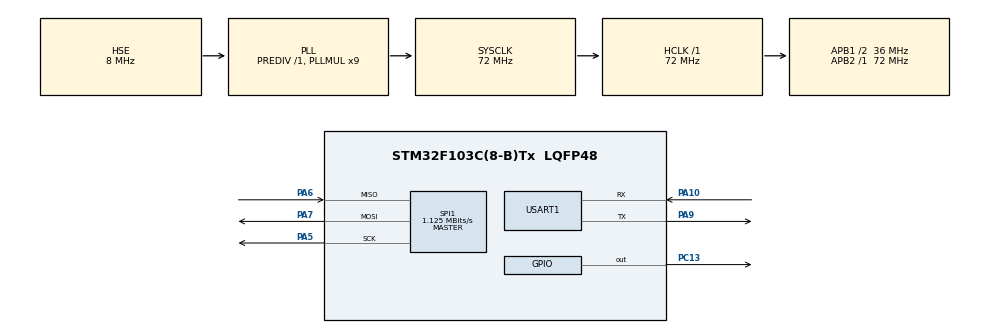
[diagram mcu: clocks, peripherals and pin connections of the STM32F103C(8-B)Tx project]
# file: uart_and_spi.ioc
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Dma.Request0=USART1_RX
Dma.USART1_RX.0.Direction=DMA_PERIPH_TO_MEMORY
Dma.USART1_RX.0.Instance=DMA1_Channel5
Dma.USART1_RX.0.MemDataAlignment=DMA_MDATAALIGN_BYTE
Dma.USART1_RX.0.MemInc=DMA_MINC_ENABLE
Dma.USART1_RX.0.Mode=DMA_CIRCULAR
Dma.USART1_RX.0.PeriphDataAlignment=DMA_PDATAALIGN_BYTE
Dma.USART1_RX.0.PeriphInc=DMA_PINC_DISABLE
Dma.USART1_RX.0.Priority=DMA_PRIORITY_LOW
Mcu.Family=STM32F1
Mcu.Name=STM32F103C(8-B)Tx
Mcu.Package=LQFP48
NVIC.DMA1_Channel5_IRQn=true\:0\:0\:false\:false\:true
NVIC.PriorityGroup=NVIC_PRIORITYGROUP_4
NVIC.SPI1_IRQn=true\:0\:0\:false\:false\:true
NVIC.USART1_IRQn=true\:0\:0\:false\:false\:true
PA10.Mode=Asynchronous
PA10.Signal=USART1_RX
PA13.Mode=Serial_Wire
PA13.Signal=SYS_JTMS-SWDIO
PA14.Mode=Serial_Wire
PA14.Signal=SYS_JTCK-SWCLK
PA5.Mode=Full_Duplex_Master
PA5.Signal=SPI1_SCK
PA6.Mode=Full_Duplex_Master
PA6.Signal=SPI1_MISO
PA7.Mode=Full_Duplex_Master
PA7.Signal=SPI1_MOSI
PA9.Mode=Asynchronous
PA9.Signal=USART1_TX
PC13-TAMPER-RTC.Signal=GPIO_Output
PD0-OSC_IN.Mode=HSE-External-Oscillator
PD0-OSC_IN.Signal=RCC_OSC_IN
PD1-OSC_OUT.Mode=HSE-External-Oscillator
PD1-OSC_OUT.Signal=RCC_OSC_OUT
ProjectManager.HeapSize=0x200
ProjectManager.StackSize=0x400
ProjectManager.TargetToolchain=Makefile
RCC.AHBFreq_Value=72000000
RCC.APB1CLKDivider=RCC_HCLK_DIV2
RCC.APB1Freq_Value=36000000
RCC.APB1TimFreq_Value=72000000
RCC.APB2Freq_Value=72000000
RCC.APB2TimFreq_Value=72000000
RCC.HCLKFreq_Value=72000000
RCC.PLLMUL=RCC_PLL_MUL9
RCC.PLLSourceVirtual=RCC_PLLSOURCE_HSE
RCC.SYSCLKFreq_VALUE=72000000
RCC.SYSCLKSource=RCC_SYSCLKSOURCE_PLLCLK
RCC.USBFreq_Value=72000000
SPI1.BaudRatePrescaler=SPI_BAUDRATEPRESCALER_64
SPI1.CalculateBaudRate=1.125 MBits/s
SPI1.Direction=SPI_DIRECTION_2LINES
SPI1.Mode=SPI_MODE_MASTER
SPI1.VirtualType=VM_MASTER
USART1.VirtualMode=VM_ASYNC
board=uart_and_spi

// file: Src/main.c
/**
  ******************************************************************************
  * File Name          : main.c
  * Description        : Main program body
  ******************************************************************************
  ** This notice applies to any and all portions of this file
  * that are not between comment pairs USER CODE BEGIN and
  * USER CODE END. Other portions of this file, whether
  * inserted by the user or by software development tools
  * are owned by their respective copyright owners.
  *
  * COPYRIGHT(c) 2017 STMicroelectronics
  *
  * Redistribution and use in source and binary forms, with or without modification,
  * are permitted provided that the following conditions are met:
  *   1. Redistributions of source code must retain the above copyright notice,
  *      this list of conditions and the following disclaimer.
  *   2. Redistributions in binary form must reproduce the above copyright notice,
  *      this list of conditions and the following disclaimer in the documentation
  *      and/or other materials provided with the distribution.
  *   3. Neither the name of STMicroelectronics nor the names of its contributors
  *      may be used to endorse or promote products derived from this software
  *      without specific prior written permission.
  *
  * THIS SOFTWARE IS PROVIDED BY THE COPYRIGHT HOLDERS AND CONTRIBUTORS "AS IS"
  * AND ANY EXPRESS OR IMPLIED WARRANTIES, INCLUDING, BUT NOT LIMITED TO, THE
  * IMPLIED WARRANTIES OF MERCHANTABILITY AND FITNESS FOR A PARTICULAR PURPOSE ARE
  * DISCLAIMED. IN NO EVENT SHALL THE COPYRIGHT HOLDER OR CONTRIBUTORS BE LIABLE
  * FOR ANY DIRECT, INDIRECT, INCIDENTAL, SPECIAL, EXEMPLARY, OR CONSEQUENTIAL
  * DAMAGES (INCLUDING, BUT NOT LIMITED TO, PROCUREMENT OF SUBSTITUTE GOODS OR
  * SERVICES; LOSS OF USE, DATA, OR PROFITS; OR BUSINESS INTERRUPTION) HOWEVER
  * CAUSED AND ON ANY THEORY OF LIABILITY, WHETHER IN CONTRACT, STRICT LIABILITY,
  * OR TORT (INCLUDING NEGLIGENCE OR OTHERWISE) ARISING IN ANY WAY OUT OF THE USE
  * OF THIS SOFTWARE, EVEN IF ADVISED OF THE POSSIBILITY OF SUCH DAMAGE.
  *
  ******************************************************************************
  */
#include "main.h"
#include "stm32f1xx_hal.h"
#include "dma.h"
#include "spi.h"
#include "usart.h"
#include "gpio.h"

/* USER CODE BEGIN PV */
/* Private variables ---------------------------------------------------------*/

/* USER CODE END PV */

void SystemClock_Config(void);

/* USER CODE BEGIN PFP */
/* Private function prototypes -----------------------------------------------*/

/* USER CODE END PFP */

/* USER CODE BEGIN 0 */
void delayLoop() {
        volatile uint32_t delayCount = 100000; // volatile, um "Wegoptimieren" zu vermeinden
                                               //(http://en.wikipedia.org/wiki/Volatile_variable)
        while (delayCount > 0) {
                delayCount--;
        }
}

void HAL_UART_TxCpltCallback(UART_HandleTypeDef *huart)
{
  HAL_UART_StateTypeDef state = HAL_UART_GetState(huart);
  if (state == HAL_UART_STATE_READY) {

  } else {

  }
}

void HAL_SPI_TxCpltCallback(SPI_HandleTypeDef *hspi)
{
  HAL_SPI_StateTypeDef state = HAL_SPI_GetState(hspi);
  if (state == HAL_SPI_STATE_READY) {

  } else {

  }

}

/* USER CODE END 0 */

int main(void)
{

  /* MCU Configuration----------------------------------------------------------*/

  /* Reset of all peripherals, Initializes the Flash interface and the Systick. */
  HAL_Init();

  /* Configure the system clock */
  SystemClock_Config();

  /* Initialize all configured peripherals */
  MX_GPIO_Init();
  MX_DMA_Init();
  MX_USART1_UART_Init();
  MX_SPI1_Init();

  /* USER CODE BEGIN 2 */
  uint8_t themessage[] = "E.T. is phoning home. Anyone there? Be sure to check spi\n";
  uint8_t theothermessage[] = "Hey. I hate to interrupt, but...\n";
  uint8_t spimessage[] = "This is a secret side message over spi\n";
  uint8_t spimessageit[] = "This time the spi message was send via IT\n";

  /* USER CODE END 2 */

  /* Infinite loop */
  /* USER CODE BEGIN WHILE */
  uint8_t uart_poll = 1;
  uint8_t spi_poll = 1;
  uint32_t lasttime = 0;
  while (1)
  {
  /* USER CODE END WHILE */

  /* USER CODE BEGIN 3 */
    uint32_t curtime = HAL_GetTick();
    if (((curtime % 1000) != 0) || (curtime == lasttime)) {
      continue;
    }
    lasttime = curtime;

    HAL_UART_StateTypeDef state = HAL_UART_GetState(&huart1);
    if (state == HAL_UART_STATE_READY) {
      HAL_StatusTypeDef tstate __attribute__ ((unused));
      if (uart_poll) {
        tstate = HAL_UART_Transmit(&huart1, themessage, sizeof(themessage), HAL_MAX_DELAY);
      } else {
        tstate = HAL_UART_Transmit_IT(&huart1, theothermessage, sizeof(theothermessage));
      }
      uart_poll = !uart_poll;
      state = HAL_UART_GetState(&huart1);
    }

    HAL_SPI_StateTypeDef spistate =  HAL_SPI_GetState (&hspi1);
    if (spistate == HAL_SPI_STATE_READY) {
      HAL_StatusTypeDef hstatus __attribute__ ((unused));
      if (spi_poll) {
        hstatus = HAL_SPI_Transmit(&hspi1, spimessage, sizeof(spimessage), HAL_MAX_DELAY);
      } else {
        hstatus = HAL_SPI_Transmit_IT(&hspi1, spimessageit, sizeof(spimessageit));
      }
      spi_poll = !spi_poll;
      spistate =  HAL_SPI_GetState (&hspi1);
    }

    GPIOC->ODR |= GPIO_PIN_13;
    delayLoop();
    delayLoop();
    GPIOC->ODR &= ~(GPIO_PIN_13);
    delayLoop();

  }
  /* USER CODE END 3 */

}

/** System Clock Configuration
*/
void SystemClock_Config(void)
{

  RCC_OscInitTypeDef RCC_OscInitStruct;
  RCC_ClkInitTypeDef RCC_ClkInitStruct;

    /**Initializes the CPU, AHB and APB busses clocks
    */
  RCC_OscInitStruct.OscillatorType = RCC_OSCILLATORTYPE_HSE;
  RCC_OscInitStruct.HSEState = RCC_HSE_ON;
  RCC_OscInitStruct.HSEPredivValue = RCC_HSE_PREDIV_DIV1;
  RCC_OscInitStruct.HSIState = RCC_HSI_ON;
  RCC_OscInitStruct.PLL.PLLState = RCC_PLL_ON;
  RCC_OscInitStruct.PLL.PLLSource = RCC_PLLSOURCE_HSE;
  RCC_OscInitStruct.PLL.PLLMUL = RCC_PLL_MUL9;
  if (HAL_RCC_OscConfig(&RCC_OscInitStruct) != HAL_OK)
  {
    _Error_Handler(__FILE__, __LINE__);
  }

    /**Initializes the CPU, AHB and APB busses clocks
    */
  RCC_ClkInitStruct.ClockType = RCC_CLOCKTYPE_HCLK|RCC_CLOCKTYPE_SYSCLK
                              |RCC_CLOCKTYPE_PCLK1|RCC_CLOCKTYPE_PCLK2;
  RCC_ClkInitStruct.SYSCLKSource = RCC_SYSCLKSOURCE_PLLCLK;
  RCC_ClkInitStruct.AHBCLKDivider = RCC_SYSCLK_DIV1;
  RCC_ClkInitStruct.APB1CLKDivider = RCC_HCLK_DIV2;
  RCC_ClkInitStruct.APB2CLKDivider = RCC_HCLK_DIV1;

  if (HAL_RCC_ClockConfig(&RCC_ClkInitStruct, FLASH_LATENCY_2) != HAL_OK)
  {
    _Error_Handler(__FILE__, __LINE__);
  }

    /**Configure the Systick interrupt time
    */
  HAL_SYSTICK_Config(HAL_RCC_GetHCLKFreq()/1000);

    /**Configure the Systick
    */
  HAL_SYSTICK_CLKSourceConfig(SYSTICK_CLKSOURCE_HCLK);

  /* SysTick_IRQn interrupt configuration */
  HAL_NVIC_SetPriority(SysTick_IRQn, 0, 0);
}

void _Error_Handler(char * file, int line)
{
  while(1)
  {
  }
}

/************************ (C) COPYRIGHT STMicroelectronics *****END OF FILE****/
